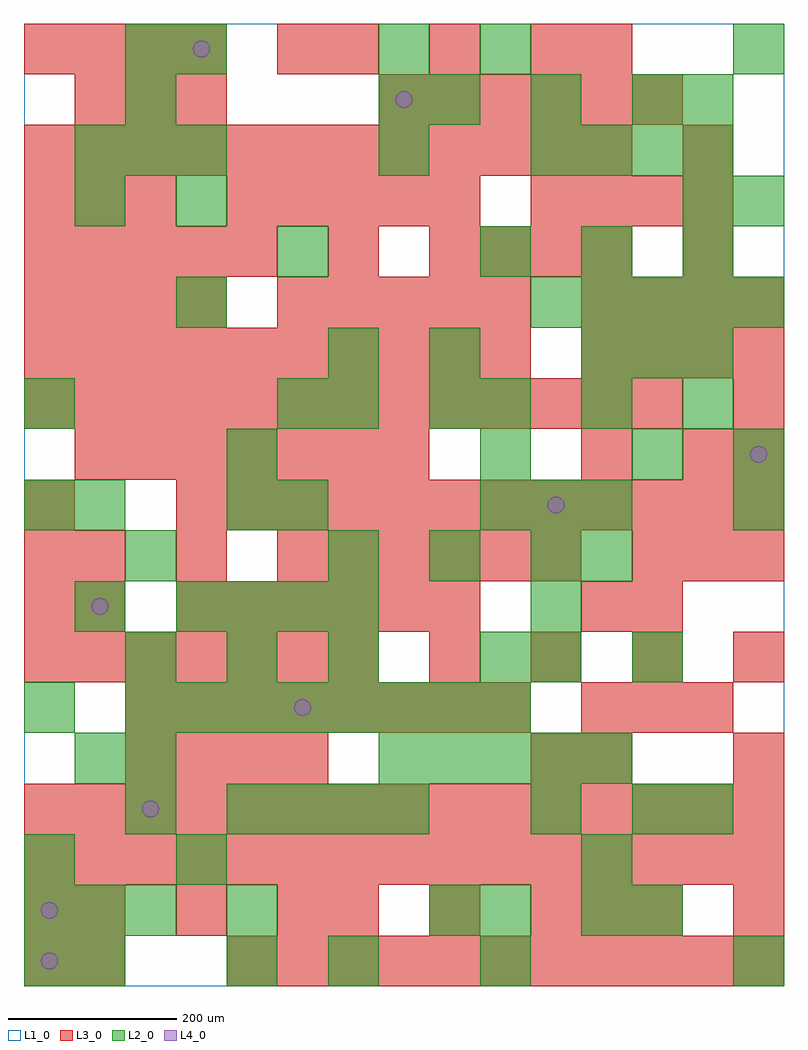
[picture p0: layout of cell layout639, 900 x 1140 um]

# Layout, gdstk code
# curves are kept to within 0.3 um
import gdstk
lib = gdstk.Library(unit=1e-6, precision=1e-09)
def R(c, l, rs):  # rectangles x0, y0, x1, y1
    for r in rs: c.add(gdstk.rectangle(r[:2], r[2:], *l))
def A(c, l, x, y, w, h, nx, ny, dx, dy):  # array of equal rectangles
    R(c, l, [(x+i*dx, y+j*dy, x+i*dx+w, y+j*dy+h) for i in range(nx) for j in range(ny)])
def P(c, l, *ps):  # polygons
    for p in ps: c.add(gdstk.Polygon(p, *l))
L1_0 = (1, 0)
L2_0 = (2, 0)
L3_0 = (3, 0)
L4_0 = (4, 0)

layout639 = lib.new_cell('layout639')
R(layout639, L1_0, [(0,0,900,1140)])
A(layout639, L2_0, 0, 60, 60, 60, 3, 1, 60, 0)
A(layout639, L2_0, 240, 180, 60, 60, 4, 1, 60, 0)
A(layout639, L2_0, 420, 240, 60, 60, 5, 1, 60, 0)
A(layout639, L2_0, 120, 300, 60, 60, 8, 1, 60, 0)
A(layout639, L2_0, 120, 360, 60, 60, 3, 1, 120, 0)
A(layout639, L2_0, 180, 420, 60, 60, 4, 1, 60, 0)
A(layout639, L2_0, 360, 480, 60, 60, 3, 1, 120, 0)
A(layout639, L2_0, 540, 540, 60, 60, 3, 1, 60, 0)
A(layout639, L2_0, 540, 660, 60, 60, 3, 2, 120, 180)
A(layout639, L2_0, 660, 720, 60, 60, 3, 1, 60, 0)
A(layout639, L2_0, 600, 780, 60, 60, 5, 1, 60, 0)
A(layout639, L2_0, 60, 960, 60, 60, 3, 1, 60, 0)
A(layout639, L2_0, 420, 960, 60, 60, 1, 3, 0, 60)
A(layout639, L2_0, 600, 960, 60, 60, 4, 1, 60, 0)
A(layout639, L2_0, 480, 1020, 60, 60, 3, 1, 120, 0)
R(layout639, L2_0, [(0,0,60,60), (60,0,120,60), (240,0,300,60), (360,0,420,60), (540,0,600,60), (840,0,900,60), (240,60,300,120), (480,60,540,120), (540,60,600,120), (660,60,720,120), (720,60,780,120), (0,120,60,180), (180,120,240,180), (660,120,720,180), (120,180,180,240), (600,180,660,240), (720,180,780,240), (780,180,840,240), (60,240,120,300), (120,240,180,300), (0,300,60,360), (540,360,600,420), (600,360,660,420), (720,360,780,420), (60,420,120,480), (600,420,660,480), (120,480,180,540), (660,480,720,540), (0,540,60,600), (60,540,120,600), (240,540,300,600), (300,540,360,600), (840,540,900,600), (240,600,300,660), (540,600,600,660), (720,600,780,660), (840,600,900,660), (0,660,60,720), (300,660,360,720), (360,660,420,720), (480,660,540,720), (360,720,420,780), (480,720,540,780), (180,780,240,840), (300,840,360,900), (60,900,120,960), (180,900,240,960), (780,900,840,960), (840,900,900,960), (120,1020,180,1080), (780,1020,840,1080), (120,1080,180,1140), (180,1080,240,1140), (540,1080,600,1140), (840,1080,900,1140)])
A(layout639, L3_0, 240, 0, 60, 60, 11, 1, 60, 0)
A(layout639, L3_0, 60, 60, 60, 60, 3, 2, 120, 420)
A(layout639, L3_0, 360, 60, 60, 60, 3, 2, 120, 1020)
A(layout639, L3_0, 660, 60, 60, 60, 1, 4, 0, 180)
A(layout639, L3_0, 0, 120, 60, 60, 15, 2, 60, 60)
A(layout639, L3_0, 120, 240, 60, 60, 4, 1, 60, 0)
A(layout639, L3_0, 120, 300, 60, 60, 8, 1, 60, 0)
A(layout639, L3_0, 660, 300, 60, 60, 3, 1, 60, 0)
A(layout639, L3_0, 0, 360, 60, 60, 7, 1, 60, 0)
A(layout639, L3_0, 480, 360, 60, 60, 4, 1, 120, 0)
A(layout639, L3_0, 0, 420, 60, 60, 1, 3, 0, 60)
A(layout639, L3_0, 180, 420, 60, 60, 6, 1, 60, 0)
A(layout639, L3_0, 360, 480, 60, 60, 5, 1, 60, 0)
A(layout639, L3_0, 720, 480, 60, 60, 3, 1, 60, 0)
A(layout639, L3_0, 180, 540, 60, 60, 12, 1, 60, 0)
A(layout639, L3_0, 60, 600, 60, 60, 7, 1, 60, 0)
A(layout639, L3_0, 0, 660, 60, 60, 13, 1, 60, 0)
A(layout639, L3_0, 0, 720, 60, 60, 10, 1, 60, 0)
A(layout639, L3_0, 660, 720, 60, 60, 4, 2, 60, 60)
A(layout639, L3_0, 0, 780, 60, 60, 4, 2, 60, 300)
A(layout639, L3_0, 300, 780, 60, 60, 5, 1, 60, 0)
A(layout639, L3_0, 0, 840, 60, 60, 5, 1, 60, 0)
A(layout639, L3_0, 480, 840, 60, 60, 4, 1, 60, 0)
A(layout639, L3_0, 0, 900, 60, 60, 3, 1, 60, 0)
A(layout639, L3_0, 240, 900, 60, 60, 5, 1, 60, 0)
A(layout639, L3_0, 600, 900, 60, 60, 4, 1, 60, 0)
A(layout639, L3_0, 0, 960, 60, 60, 12, 1, 60, 0)
A(layout639, L3_0, 60, 1020, 60, 60, 3, 1, 60, 0)
A(layout639, L3_0, 420, 1020, 60, 60, 6, 1, 60, 0)
R(layout639, L3_0, [(0,0,60,60), (60,0,120,60), (0,60,60,120), (720,60,780,120), (840,60,900,120), (600,240,660,300), (840,240,900,300), (60,420,120,480), (720,420,780,480), (780,600,840,660), (840,600,900,660), (840,660,900,720), (360,840,420,900), (780,840,840,900), (780,960,840,1020), (300,1080,360,1140), (660,1080,720,1140)])
P(layout639, L4_0, [(40,30),(39.239,33.827),(37.071,37.071),(33.827,39.239),(30,40),(26.173,39.239),(22.929,37.071),(20.761,33.827),(20,30),(20.761,26.173),(22.929,22.929),(26.173,20.761),(30,20),(33.827,20.761),(37.071,22.929),(39.239,26.173)],
  [(40,90),(39.239,93.827),(37.071,97.071),(33.827,99.239),(30,100),(26.173,99.239),(22.929,97.071),(20.761,93.827),(20,90),(20.761,86.173),(22.929,82.929),(26.173,80.761),(30,80),(33.827,80.761),(37.071,82.929),(39.239,86.173)],
  [(100,450),(99.239,453.827),(97.071,457.071),(93.827,459.239),(90,460),(86.173,459.239),(82.929,457.071),(80.761,453.827),(80,450),(80.761,446.173),(82.929,442.929),(86.173,440.761),(90,440),(93.827,440.761),(97.071,442.929),(99.239,446.173)],
  [(160,210),(159.239,213.827),(157.071,217.071),(153.827,219.239),(150,220),(146.173,219.239),(142.929,217.071),(140.761,213.827),(140,210),(140.761,206.173),(142.929,202.929),(146.173,200.761),(150,200),(153.827,200.761),(157.071,202.929),(159.239,206.173)],
  [(220,1110),(219.239,1113.827),(217.071,1117.071),(213.827,1119.239),(210,1120),(206.173,1119.239),(202.929,1117.071),(200.761,1113.827),(200,1110),(200.761,1106.173),(202.929,1102.929),(206.173,1100.761),(210,1100),(213.827,1100.761),(217.071,1102.929),(219.239,1106.173)],
  [(340,330),(339.239,333.827),(337.071,337.071),(333.827,339.239),(330,340),(326.173,339.239),(322.929,337.071),(320.761,333.827),(320,330),(320.761,326.173),(322.929,322.929),(326.173,320.761),(330,320),(333.827,320.761),(337.071,322.929),(339.239,326.173)],
  [(460,1050),(459.239,1053.827),(457.071,1057.071),(453.827,1059.239),(450,1060),(446.173,1059.239),(442.929,1057.071),(440.761,1053.827),(440,1050),(440.761,1046.173),(442.929,1042.929),(446.173,1040.761),(450,1040),(453.827,1040.761),(457.071,1042.929),(459.239,1046.173)],
  [(640,570),(639.239,573.827),(637.071,577.071),(633.827,579.239),(630,580),(626.173,579.239),(622.929,577.071),(620.761,573.827),(620,570),(620.761,566.173),(622.929,562.929),(626.173,560.761),(630,560),(633.827,560.761),(637.071,562.929),(639.239,566.173)],
  [(880,630),(879.239,633.827),(877.071,637.071),(873.827,639.239),(870,640),(866.173,639.239),(862.929,637.071),(860.761,633.827),(860,630),(860.761,626.173),(862.929,622.929),(866.173,620.761),(870,620),(873.827,620.761),(877.071,622.929),(879.239,626.173)])

lib.write_gds('layout639.gds')
